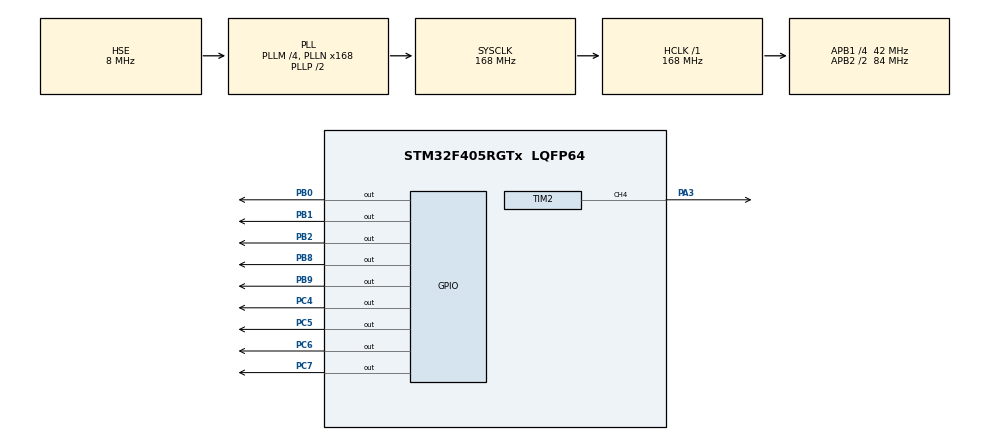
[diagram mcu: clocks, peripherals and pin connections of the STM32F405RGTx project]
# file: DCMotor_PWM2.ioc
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Mcu.Family=STM32F4
RCC.PLLSourceVirtual=RCC_PLLSOURCE_HSE
PH0-OSC_IN.Signal=RCC_OSC_IN
TIM2.Channel-PWM\ Generation4\ CH4=TIM_CHANNEL_4
RCC.CortexFreq_Value=168000000
PC4.Signal=GPIO_Output
PC6.Signal=GPIO_Output
RCC.APB1CLKDivider=RCC_HCLK_DIV4
RCC.SYSCLKSource=RCC_SYSCLKSOURCE_PLLCLK
ProjectManager.StackSize=0x400
PA13.Signal=SYS_JTMS-SWDIO
ProjectManager.TargetToolchain=EWARM V8.32
RCC.HCLKFreq_Value=168000000
RCC.APB2TimFreq_Value=168000000
PC7.Signal=GPIO_Output
RCC.LSE_VALUE=32768
RCC.AHBFreq_Value=168000000
PH0-OSC_IN.Mode=HSE-External-Oscillator
RCC.HSE_VALUE=8000000
PB2.Signal=GPIO_Output
board=custom
RCC.VCOOutputFreq_Value=336000000
RCC.APB2Freq_Value=84000000
PA14.Mode=Serial_Wire
PH1-OSC_OUT.Signal=RCC_OSC_OUT
PA13.Mode=Serial_Wire
Mcu.Name=STM32F405RGTx
PH1-OSC_OUT.Mode=HSE-External-Oscillator
RCC.48MHZClocksFreq_Value=84000000
RCC.SYSCLKFreq_VALUE=168000000
Mcu.Package=LQFP64
PB9.Signal=GPIO_Output
PB1.Signal=GPIO_Output
PA14.Signal=SYS_JTCK-SWCLK
ProjectManager.HeapSize=0x200
SH.S_TIM2_CH4.0=TIM2_CH4,PWM Generation4 CH4
RCC.HSI_VALUE=16000000
NVIC.PriorityGroup=NVIC_PRIORITYGROUP_4
RCC.APB2CLKDivider=RCC_HCLK_DIV2
RCC.PLLM=4
RCC.PLLN=168
RCC.APB1TimFreq_Value=84000000
PB8.Signal=GPIO_Output
PC5.Signal=GPIO_Output
RCC.APB1Freq_Value=42000000
PB0.Signal=GPIO_Output
PA3.Signal=S_TIM2_CH4

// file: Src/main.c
/* USER CODE BEGIN Header */
/**
  ******************************************************************************
  * @file           : main.c
  * @brief          : Main program body
  ******************************************************************************
  * @attention
  *
  * <h2><center>&copy; Copyright (c) 2020 STMicroelectronics.
  * All rights reserved.</center></h2>
  *
  * This software component is licensed by ST under BSD 3-Clause license,
  * the "License"; You may not use this file except in compliance with the
  * License. You may obtain a copy of the License at:
  *                        opensource.org/licenses/BSD-3-Clause
  *
  ******************************************************************************
  */
/* USER CODE END Header */

#include "main.h"
#include "tim.h"
#include "gpio.h"

/* USER CODE BEGIN Includes */
#include "stdio.h"
#include "lcd.h"
/* USER CODE END Includes */

void SystemClock_Config(void);

int main(void)
{
  /* USER CODE BEGIN 1 */
  unsigned int pwmduty = 0, cnt_dir = 0;
  /* USER CODE END 1 */

  /* MCU Configuration--------------------------------------------------------*/

  /* Reset of all peripherals, Initializes the Flash interface and the Systick. */
  HAL_Init();

  /* Configure the system clock */
  SystemClock_Config();

  /* Initialize all configured peripherals */
  MX_GPIO_Init();
  MX_TIM2_Init();
  /* USER CODE BEGIN 2 */
  lcdInit();
  HAL_TIM_PWM_Start(&htim2, TIM_CHANNEL_4);
  /* USER CODE END 2 */

  /* Infinite loop */
  /* USER CODE BEGIN WHILE */
  lcdGotoXY(0, 0);
  lcdPrintData("Duty: ", 7);
  HAL_GPIO_WritePin(GPIOB, GPIO_PIN_8, GPIO_PIN_SET);
  HAL_GPIO_WritePin(GPIOB, GPIO_PIN_9, GPIO_PIN_RESET);
  while (1)
  {
    if(cnt_dir)
    {
      pwmduty--;
      if(pwmduty == 0) cnt_dir = 0;
    }
    else
    {
      pwmduty++;
      if(pwmduty == 99) cnt_dir = 1;
    }

    TIM2->CCR4 = pwmduty;
    lcdGotoXY(7, 0);
    lcdDataWrite((pwmduty/10)%10 + '0');
    lcdDataWrite((pwmduty)%10 + '0');
    lcdDataWrite('%');
    HAL_Delay(250);
    /* USER CODE END WHILE */

  }
}

void SystemClock_Config(void)
{
  RCC_OscInitTypeDef RCC_OscInitStruct = {0};
  RCC_ClkInitTypeDef RCC_ClkInitStruct = {0};

  /** Configure the main internal regulator output voltage
  */
  __HAL_RCC_PWR_CLK_ENABLE();
  __HAL_PWR_VOLTAGESCALING_CONFIG(PWR_REGULATOR_VOLTAGE_SCALE1);
  /** Initializes the CPU, AHB and APB busses clocks
  */
  RCC_OscInitStruct.OscillatorType = RCC_OSCILLATORTYPE_HSE;
  RCC_OscInitStruct.HSEState = RCC_HSE_ON;
  RCC_OscInitStruct.PLL.PLLState = RCC_PLL_ON;
  RCC_OscInitStruct.PLL.PLLSource = RCC_PLLSOURCE_HSE;
  RCC_OscInitStruct.PLL.PLLM = 4;
  RCC_OscInitStruct.PLL.PLLN = 168;
  RCC_OscInitStruct.PLL.PLLP = RCC_PLLP_DIV2;
  RCC_OscInitStruct.PLL.PLLQ = 4;
  if (HAL_RCC_OscConfig(&RCC_OscInitStruct) != HAL_OK)
  {
    Error_Handler();
  }
  /** Initializes the CPU, AHB and APB busses clocks
  */
  RCC_ClkInitStruct.ClockType = RCC_CLOCKTYPE_HCLK|RCC_CLOCKTYPE_SYSCLK
                              |RCC_CLOCKTYPE_PCLK1|RCC_CLOCKTYPE_PCLK2;
  RCC_ClkInitStruct.SYSCLKSource = RCC_SYSCLKSOURCE_PLLCLK;
  RCC_ClkInitStruct.AHBCLKDivider = RCC_SYSCLK_DIV1;
  RCC_ClkInitStruct.APB1CLKDivider = RCC_HCLK_DIV4;
  RCC_ClkInitStruct.APB2CLKDivider = RCC_HCLK_DIV2;

  if (HAL_RCC_ClockConfig(&RCC_ClkInitStruct, FLASH_LATENCY_5) != HAL_OK)
  {
    Error_Handler();
  }
}

void Error_Handler(void)
{
}

/************************ (C) COPYRIGHT STMicroelectronics *****END OF FILE****/
